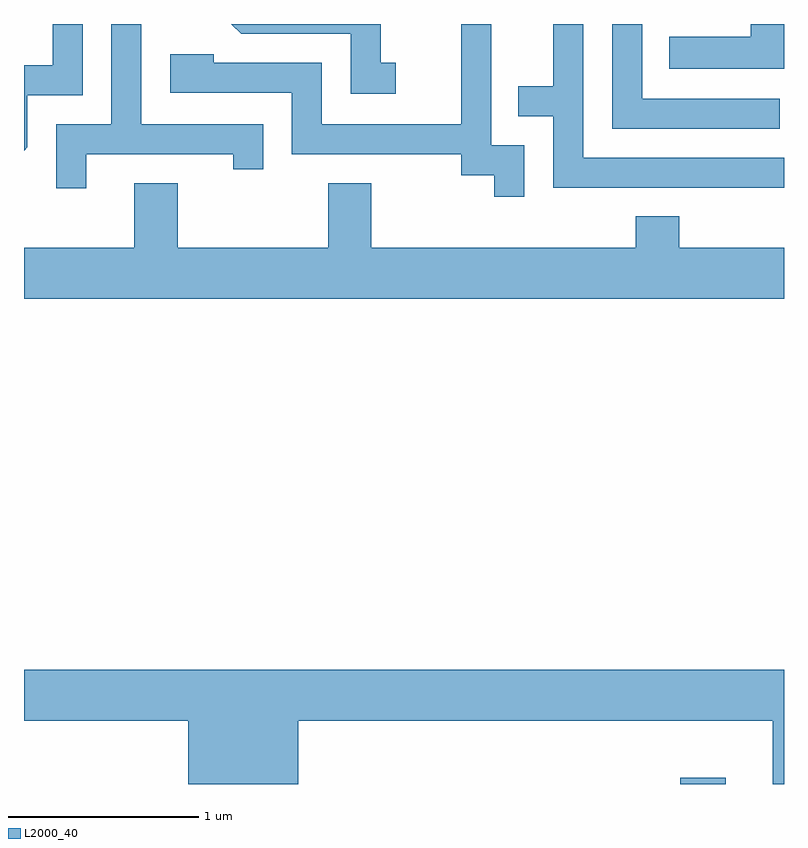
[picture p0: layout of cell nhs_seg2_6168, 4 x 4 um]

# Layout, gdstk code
import gdstk
lib = gdstk.Library(unit=1e-6, precision=1e-09)
def R(c, l, rs):  # rectangles x0, y0, x1, y1
    for r in rs: c.add(gdstk.rectangle(r[:2], r[2:], *l))
def P(c, l, *ps):  # polygons
    for p in ps: c.add(gdstk.Polygon(p, *l))
L2000_40 = (2000, 40)

nhs_seg2_6168 = lib.new_cell('nhs_seg2_6168')
R(nhs_seg2_6168, L2000_40, [(371.066,1005.802,371.304,1005.834)])
P(nhs_seg2_6168, L2000_40, [(370.244,1009.164),(370.069,1009.164),(370.069,1009.802),(369.911,1009.802),(369.911,1009.274),(369.179,1009.274),(369.179,1009.599),(368.609,1009.599),(368.609,1009.644),(368.381,1009.644),(368.381,1009.441),(369.021,1009.441),(369.021,1009.116),(369.911,1009.116),(369.911,1009.006),(370.086,1009.006),(370.086,1008.893),(370.244,1008.893)],
  [(367.629,1009.154),(367.629,1009.426),(367.919,1009.426),(367.919,1009.802),(367.761,1009.802),(367.761,1009.584),(367.611,1009.584),(367.611,1009.136)],
  [(371.611,1009.099),(370.554,1009.099),(370.554,1009.802),(370.396,1009.802),(370.396,1009.474),(370.213,1009.474),(370.213,1009.316),(370.396,1009.316),(370.396,1008.941),(371.611,1008.941)],
  [(371.611,1009.802),(371.436,1009.802),(371.436,1009.734),(371.008,1009.734),(371.008,1009.566),(371.611,1009.566)],
  [(367.939,1009.116),(368.711,1009.116),(368.711,1009.038),(368.869,1009.038),(368.869,1009.274),(368.229,1009.274),(368.229,1009.802),(368.071,1009.802),(368.071,1009.274),(367.781,1009.274),(367.781,1008.938),(367.939,1008.938)],
  [(369.568,1009.599),(369.489,1009.599),(369.489,1009.802),(368.703,1009.802),(368.754,1009.751),(369.331,1009.751),(369.331,1009.436),(369.568,1009.436)],
  [(371.588,1009.409),(370.864,1009.409),(370.864,1009.802),(370.706,1009.802),(370.706,1009.251),(371.588,1009.251)],
  [(371.611,1008.624),(371.059,1008.624),(371.059,1008.789),(370.831,1008.789),(370.831,1008.624),(369.439,1008.624),(369.439,1008.964),(369.211,1008.964),(369.211,1008.624),(368.419,1008.624),(368.419,1008.964),(368.191,1008.964),(368.191,1008.624),(367.611,1008.624),(367.611,1008.356),(371.611,1008.356)],
  [(367.611,1006.136),(368.476,1006.136),(368.476,1005.802),(369.054,1005.802),(369.054,1006.136),(371.551,1006.136),(371.551,1005.802),(371.611,1005.802),(371.611,1006.404),(367.611,1006.404)])

lib.write_gds('nhs_seg2_6168.gds')
